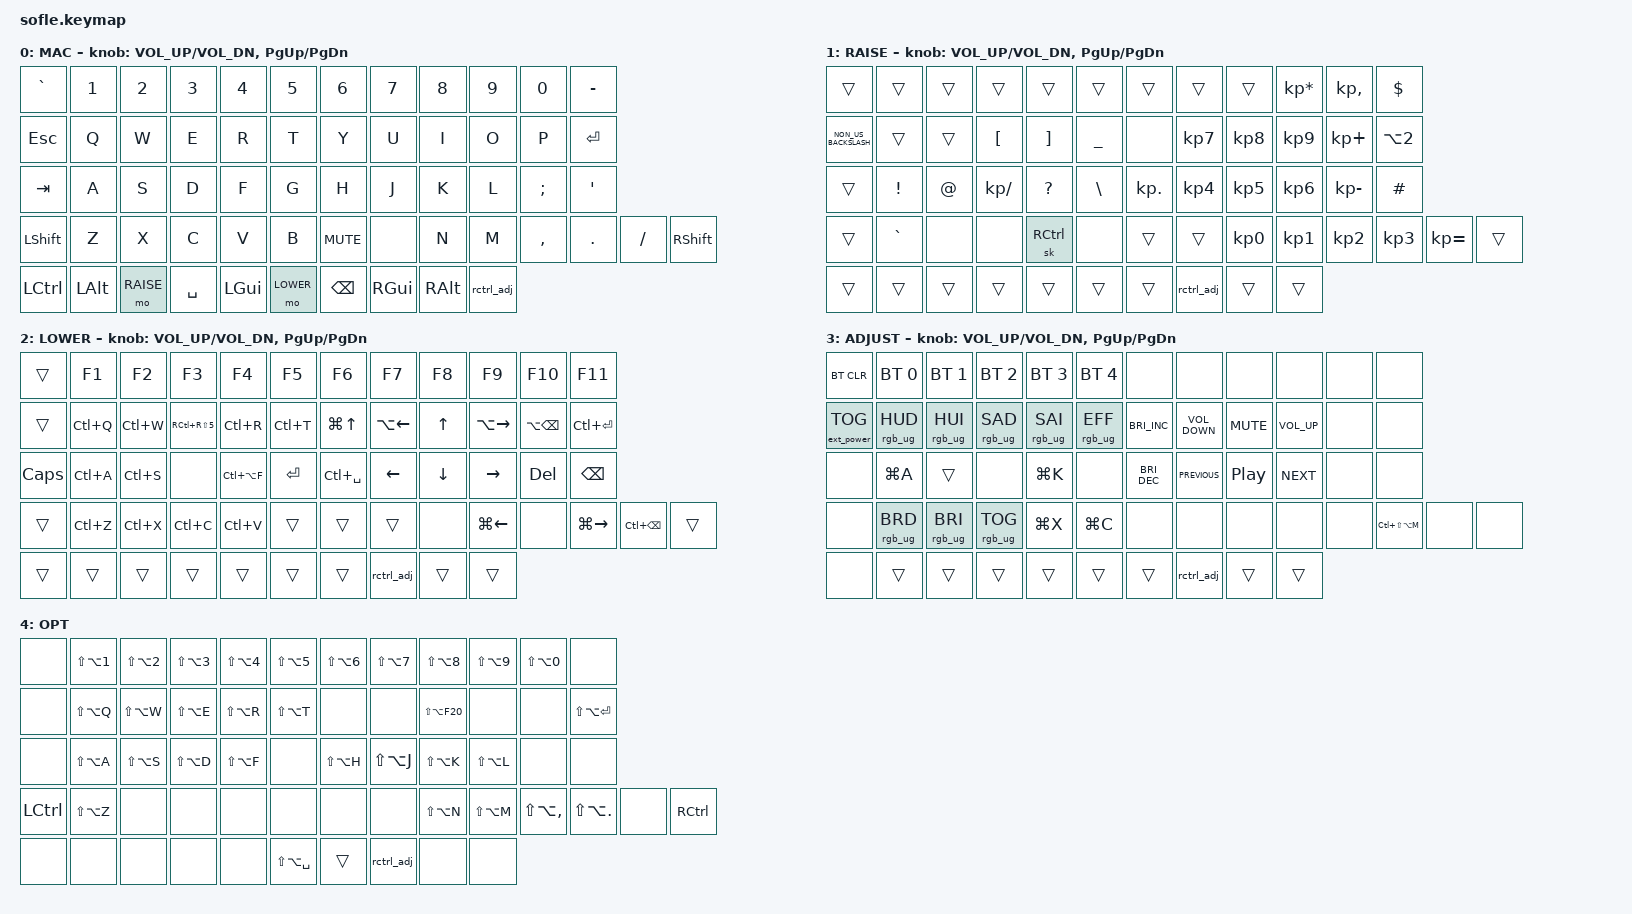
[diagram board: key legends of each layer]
/*
 * Sofle + nRF52840 BLE (ZMK keymap)
 *
 * QMK port with:
 *  - QWERTY base (only; Colemak removed)
 *  - RAISE (numpad/symbols)
 *  - LOWER (function / navigation / editing)
 *  - ADJUST (media / layout)
 *  - OPT (LSA chord layer, tri-layered from LOWER+RAISE)
 *
 * New behaviour:
 *  - Thumb key: momentary LOWER only (no ADJUST toggle).
 *  - Right Ctrl: tap-dance
 *      * single tap  -> Right Ctrl
 *      * double tap  -> toggle ADJUST layer
 */

#include <behaviors.dtsi>
#include <dt-bindings/zmk/keys.h>
#include <dt-bindings/zmk/bt.h>
#include <dt-bindings/zmk/rgb.h>
#include <dt-bindings/zmk/ext_power.h>

/* Layer indices */
#define QWERTY   0
#define RAISE    1
#define LOWER    2
#define ADJUST   3
#define OPT      4

&nice_view_spi {
    cs-gpios = <&pro_micro 4 GPIO_ACTIVE_HIGH>;
};

/ {
    behaviors {
        /*
         * Tap-dance for Right Ctrl:
         *  - 1 tap  -> &kp RIGHT_CONTROL
         *  - 2 taps -> &tog ADJUST
         */
        rctrl_adj: right_ctrl_adjust {
            compatible = "zmk,behavior-tap-dance";
            label = "RCTRL_ADJUST";
            #binding-cells = <0>;
            tapping-term-ms = <200>;
            bindings = <&kp RIGHT_CONTROL>, <&tog ADJUST>;
        };
    };

    /* Tri-layer: when LOWER + RAISE are both active, enable OPT */
    conditional_layers {
        compatible = "zmk,conditional-layers";

        lower_raise_opt {
            if-layers = <LOWER RAISE>;
            then-layer = <OPT>;
        };
    };

    keymap {
        compatible = "zmk,keymap";

        /* Layer 0: QWERTY */
        layer0 {
            display-name = "MAC";
            bindings = <
                &kp GRAVE       &kp N1          &kp N2          &kp N3          &kp N4          &kp N5          &kp N6          &kp N7          &kp N8          &kp N9          &kp N0          &kp MINUS
                &kp ESCAPE      &kp Q           &kp W           &kp E           &kp R           &kp T           &kp Y           &kp U           &kp I           &kp O           &kp P           &kp ENTER
                &kp TAB         &kp A           &kp S           &kp D           &kp F           &kp G           &kp H           &kp J           &kp K           &kp L           &kp SEMICOLON   &kp SINGLE_QUOTE
                &kp LEFT_SHIFT  &kp Z           &kp X           &kp C           &kp V           &kp B           &kp C_MUTE      &none           &kp N           &kp M           &kp COMMA       &kp DOT        &kp SLASH      &kp RIGHT_SHIFT
                &kp LEFT_CONTROL    &kp LEFT_ALT    &mo RAISE       &kp SPACE       &kp LEFT_GUI &mo LOWER       &kp BACKSPACE    &kp RIGHT_GUI     &kp RIGHT_ALT   &rctrl_adj
            >;
            sensor-bindings = <
                &inc_dec_kp C_VOL_UP C_VOL_DN 
                &inc_dec_kp PG_UP PG_DN
                >;
        };

        /* Layer 1: RAISE – numpad / symbols (QMK _RAISE) */
        layer1 {
            display-name = "RAISE";
            bindings = <
                &trans          &trans          &trans          &trans          &trans          &trans          &trans          &trans          &trans          &kp KP_ASTERISK &kp KP_COMMA     &kp DOLLAR
                &kp NON_US_BACKSLASH &trans      &trans          &kp LEFT_BRACKET &kp RIGHT_BRACKET &kp UNDERSCORE &none          &kp KP_N7       &kp KP_N8       &kp KP_N9       &kp KP_PLUS     &kp LA(N2)
                &trans          &kp EXCLAMATION &kp AT_SIGN     &kp KP_SLASH    &kp QUESTION    &kp BACKSLASH   &kp KP_DOT      &kp KP_N4       &kp KP_N5       &kp KP_N6       &kp KP_MINUS    &kp HASH
                &trans          &kp GRAVE       &none           &none           &sk RCTRL       &none           &trans          &trans          &kp KP_N0       &kp KP_N1       &kp KP_N2       &kp KP_N3      &kp KP_EQUAL   &trans
                &trans          &trans          &trans          &trans          &trans          &trans          &trans          &rctrl_adj      &trans          &trans
            >;
            sensor-bindings = <
                &inc_dec_kp C_VOL_UP C_VOL_DN 
                &inc_dec_kp PG_UP PG_DN
                >;
        };

        /* Layer 2: LOWER – function / navigation / editing (QMK _LOWER) */
        layer2 {
            display-name = "LOWER";
            bindings = <
                &trans          &kp F1          &kp F2          &kp F3          &kp F4          &kp F5          &kp F6          &kp F7          &kp F8          &kp F9          &kp F10         &kp F11
                &trans          &kp LC(Q)       &kp LC(W)       &kp RC(RS(N5))  &kp LC(R)       &kp LC(T)       &kp LG(UP)      &kp LA(LEFT)    &kp UP          &kp LA(RIGHT)   &kp LA(BACKSPACE) &kp LC(ENTER)
                &kp CAPSLOCK    &kp LC(A)       &kp LC(S)       &none           &kp LC(LA(F))   &kp ENTER       &kp LC(SPACE)   &kp LEFT        &kp DOWN        &kp RIGHT       &kp DELETE      &kp BACKSPACE
                &trans          &kp LC(Z)       &kp LC(X)       &kp LC(C)       &kp LC(V)       &trans          &trans          &trans          &none           &kp LG(LEFT)    &none           &kp LG(RIGHT)  &kp LC(BACKSPACE) &trans
                &trans          &trans          &trans          &trans          &trans          &trans          &trans          &rctrl_adj      &trans          &trans
            >;
            sensor-bindings = <
                &inc_dec_kp C_VOL_UP C_VOL_DN 
                &inc_dec_kp PG_UP PG_DN
                >;
        };

        /* Layer 3: ADJUST – media / layout (QMK _ADJUST) */
        layer3 {
            display-name = "ADJUST";
            bindings = <
                &bt BT_CLR        &bt BT_SEL 0    &bt BT_SEL 1    &bt BT_SEL 2    &bt BT_SEL 3    &bt BT_SEL 4           &none           &none           &none           &none           &none           &none
                &ext_power EP_TOG &rgb_ug RGB_HUD &rgb_ug RGB_HUI &rgb_ug RGB_SAD &rgb_ug RGB_SAI &rgb_ug RGB_EFF           &kp C_BRIGHTNESS_INC &kp C_VOLUME_DOWN &kp C_MUTE   &kp C_VOLUME_UP   &none           &none
                &none           &kp LG(A)       &trans          &none           &kp LG(K)       &none           &kp C_BRIGHTNESS_DEC &kp C_PREVIOUS &kp C_PLAY_PAUSE &kp C_NEXT    &none           &none
                &none           &rgb_ug RGB_BRD &rgb_ug RGB_BRI           &rgb_ug RGB_TOG           &kp LG(X)       &kp LG(C)       &none           &none           &none           &none           &none           &kp LC(LS(LA(M))) &none          &none
                &none           &trans          &trans          &trans          &trans          &trans          &trans          &rctrl_adj      &trans          &trans
            >;
            sensor-bindings = <
                &inc_dec_kp C_VOL_UP C_VOL_DN 
                &inc_dec_kp PG_UP PG_DN
                >;
        };

        /* Layer 4: OPT – LSA combos (QMK _5) */
        layer4 {
            display-name = "OPT";
            bindings = <
                &none           &kp LS(LA(N1))  &kp LS(LA(N2))  &kp LS(LA(N3))  &kp LS(LA(N4))  &kp LS(LA(N5))  &kp LS(LA(N6))  &kp LS(LA(N7))  &kp LS(LA(N8))  &kp LS(LA(N9))  &kp LS(LA(N0))  &none
                &none           &kp LS(LA(Q))   &kp LS(LA(W))   &kp LS(LA(E))   &kp LS(LA(R))   &kp LS(LA(T))   &none           &none           &kp LS(LA(F20)) &none           &none           &kp LS(LA(ENTER))
                &none           &kp LS(LA(A))   &kp LS(LA(S))   &kp LS(LA(D))   &kp LS(LA(F))   &none           &kp LS(LA(H))   &kp LS(LA(J))   &kp LS(LA(K))   &kp LS(LA(L))   &none           &none
                &kp LEFT_CONTROL &kp LS(LA(Z))   &none           &none           &none           &none           &none           &none           &kp LS(LA(N))   &kp LS(LA(M))   &kp LS(LA(COMMA)) &kp LS(LA(DOT)) &none         &kp RIGHT_CONTROL
                &none           &none           &none           &none           &none           &kp LS(LA(SPACE)) &trans         &rctrl_adj      &none           &none
            >;
        };
    };
};
